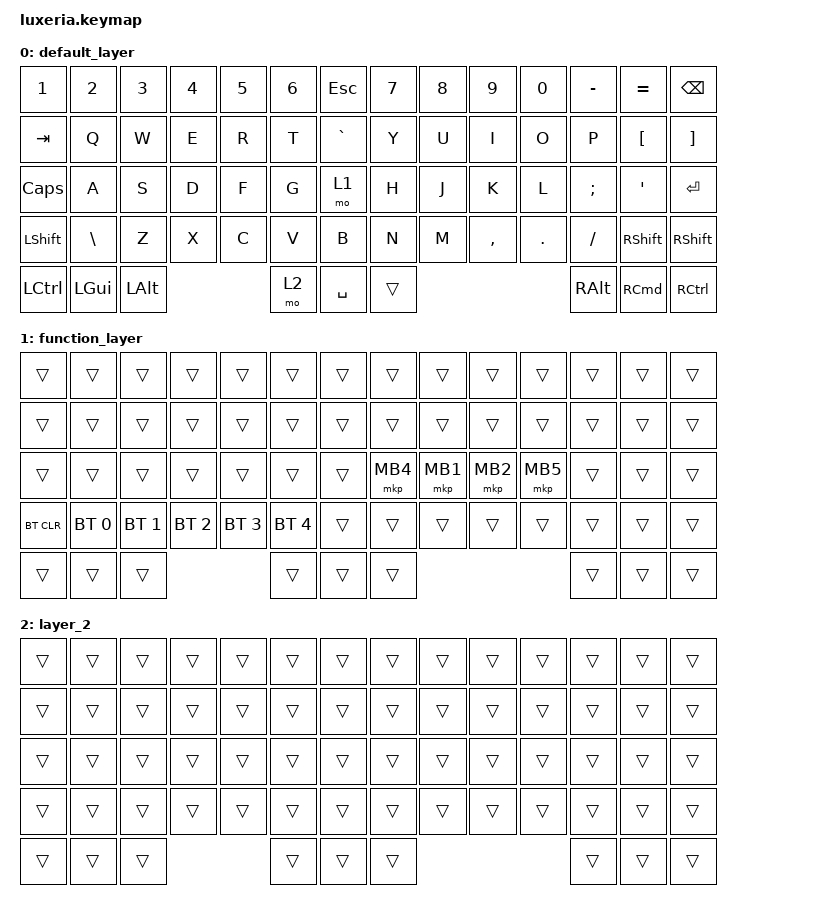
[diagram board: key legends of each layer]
/*
 * Copyright (c) 2024 The ZMK Contributors
 * SPDX-License-Identifier: MIT
 */

#include <dt-bindings/zmk/mouse.h>
#include <behaviors.dtsi>
#include <dt-bindings/zmk/bt.h>
#include <dt-bindings/zmk/keys.h>
#include <dt-bindings/zmk/pointing.h>

/ {
    keymap {
        compatible = "zmk,keymap";

        default_layer {
            bindings = <
&kp NUMBER_1  &kp NUMBER_2   &kp NUMBER_3  &kp NUMBER_4  &kp N5  &kp NUMBER_6  &kp ESC    &kp N7  &kp N8  &kp N9     &kp N0      &kp MINUS      &kp EQUAL          &kp BSPC
&kp TAB       &kp Q          &kp W         &kp E         &kp R   &kp T         &kp GRAVE  &kp Y   &kp U   &kp I      &kp O       &kp P          &kp LEFT_BRACKET   &kp RIGHT_BRACKET
&kp CAPSLOCK  &kp A          &kp S         &kp D         &kp F   &kp G         &mo 1      &kp H   &kp J   &kp K      &kp L       &kp SEMICOLON  &kp SQT            &kp RETURN
&kp LSHFT     &kp BACKSLASH  &kp Z         &kp X         &kp C   &kp V         &kp B      &kp N   &kp M   &kp COMMA  &kp PERIOD  &kp SLASH      &kp RSHIFT         &kp RSHFT
&kp LCTRL     &kp LGUI       &kp LALT                            &mo 2         &kp SPACE  &trans                                 &kp RIGHT_ALT  &kp RIGHT_COMMAND  &kp RCTRL
            >;
        };

        function_layer {
            bindings = <
&trans      &trans        &trans        &trans        &trans        &trans        &trans  &trans    &trans    &trans    &trans    &trans  &trans  &trans
&trans      &trans        &trans        &trans        &trans        &trans        &trans  &trans    &trans    &trans    &trans    &trans  &trans  &trans
&trans      &trans        &trans        &trans        &trans        &trans        &trans  &mkp MB4  &mkp MB1  &mkp MB2  &mkp MB5  &trans  &trans  &trans
&bt BT_CLR  &bt BT_SEL 0  &bt BT_SEL 1  &bt BT_SEL 2  &bt BT_SEL 3  &bt BT_SEL 4  &trans  &trans    &trans    &trans    &trans    &trans  &trans  &trans
&trans      &trans        &trans                                    &trans        &trans  &trans                                  &trans  &trans  &trans
            >;
        };

        layer_2 {
            bindings = <
&trans  &trans  &trans  &trans  &trans  &trans  &trans  &trans  &trans  &trans  &trans  &trans  &trans  &trans
&trans  &trans  &trans  &trans  &trans  &trans  &trans  &trans  &trans  &trans  &trans  &trans  &trans  &trans
&trans  &trans  &trans  &trans  &trans  &trans  &trans  &trans  &trans  &trans  &trans  &trans  &trans  &trans
&trans  &trans  &trans  &trans  &trans  &trans  &trans  &trans  &trans  &trans  &trans  &trans  &trans  &trans
&trans  &trans  &trans                  &trans  &trans  &trans                          &trans  &trans  &trans
            >;
        };
    };
};
